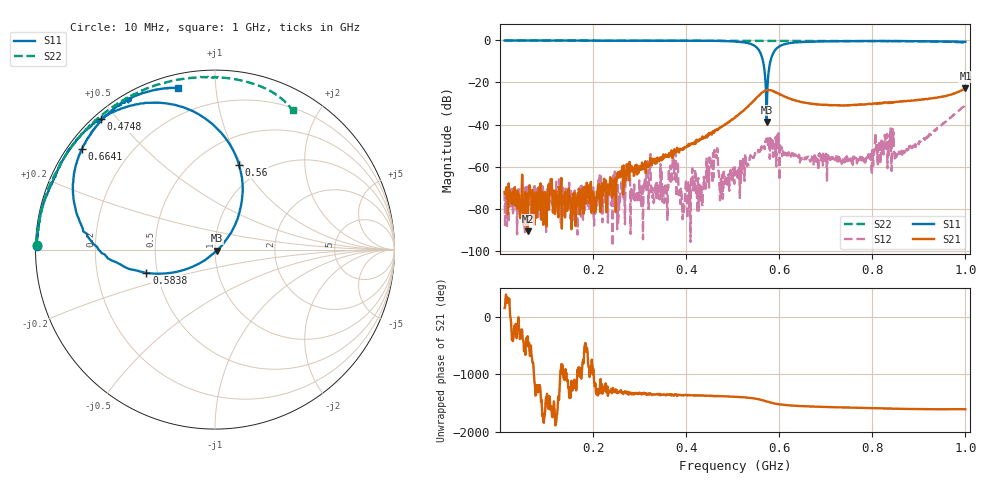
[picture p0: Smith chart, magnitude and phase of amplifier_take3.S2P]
!Agilent Technologies,E5071C,MY46101273,A.11.02
!Date: Sun Nov 12 17:39:07 2017
!Data & Calibration Information:
!Freq	S11:SOLT2(ON)	S21:SOLT2(ON)	S12:SOLT2(ON)	S22:SOLT2(ON)
!PortZ  Port1:50+j0  Port2:50+j0
!Above PortZ is port z conversion or system Z0 setting when saving the data.
!When reading, reference impedance value at option line is always used.
# Hz S dB R 50
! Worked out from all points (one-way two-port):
!   1000 points, 10 MHz to 1 GHz, reference 50 ohm
!   highest |S21| = -22.84 dB at 1 GHz (marker M1); lowest = -90.8 dB at 59.55 MHz (marker M2)
!   lowest |S11| = -38.7 dB at 572.9 MHz (marker M3), VSWR 1.02, Z = 51 - j0.589 ohm
!   |S11| at or under -10 dB: 565.2 MHz to 581.1 MHz (15.84 MHz wide, 2.76 % of centre)
!   |S22| runs from -1.0 to 0.0 dB; largest |S21 - S12| = 0.066
!   S11 on the Smith chart (normalised r, x): 10 MHz: 0.00, +0.01; 474.8 MHz: 0.02, +0.45; 560 MHz: 0.78, +0.97; 583.8 MHz: 0.43, -0.13; 664.1 MHz: 0.04, +0.33; 1 GHz: 0.07, +0.80
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1e7  -0.07 178.7  -72.07 156.9  -72.25 -115.7  -0.05 178.6
5.954955e7  -0.06 174.5  -90.76 24.8  -79.14 -140.2  -0.06 174.1
1.754955e8  -0.10 164.8  -75.62 66.5  -69.09 -131.7  -0.08 163.0
2.537838e8  -0.17 157.5  -62.70 121.1  -86.75 -137.0  -0.13 155.5
2.745946e8  -0.17 155.7  -64.26 122.6  -61.37 118.8  -0.13 153.4
2.854955e8  -0.17 154.5  -62.06 112.8  -74.75 102.8  -0.14 152.5
3.181982e8  -0.15 151.3  -60.07 91.6  -63.30 -148.0  -0.14 149.2
3.4e8  -0.14 149.2  -56.90 87.2  -69.04 -127.9  -0.14 147.0
3.766667e8  -0.13 145.3  -53.33 83.5  -63.82 69.8  -0.15 143.4
3.925225e8  -0.14 143.6  -52.08 75.6  -85.06 85.2  -0.17 141.9
4.153153e8  -0.14 140.8  -49.35 74.9  -71.28 -59.5  -0.15 139.6
4.321622e8  -0.17 138.4  -47.11 69.0  -69.55 25.5  -0.15 138.1
4.628829e8  -0.24 133.6  -42.89 62.8  -55.64 78.4  -0.16 134.8
4.747748e8  -0.29 131.1  -41.28 59.4  -65.87 45.2  -0.18 133.6
5.054955e8  -0.55 122.7  -36.66 49.8  -64.15 34.2  -0.18 130.3
5.6e8  -6.20 74.1  -25.49 0.2  -50.56 3.8  -0.20 124.4
5.728829e8  -38.73 -29.9  -23.72 -29.4  -46.64 -26.7  -0.20 123.1
5.837838e8  -7.87 -161.2  -23.85 -55.5  -46.77 -73.3  -0.19 121.9
6.640541e8  -0.64 143.0  -29.91 -117.8  -55.73 -106.2  -0.22 112.9
6.7e8  -0.60 141.8  -30.02 -119.4  -55.89 -111.9  -0.22 112.2
8.354955e8  -0.23 120.1  -29.43 -152.4  -54.52 124.8  -0.36 90.6
1e9  -0.70 102.8  -22.84 -166.4  -31.01 -113.7  -1.03 60.9
